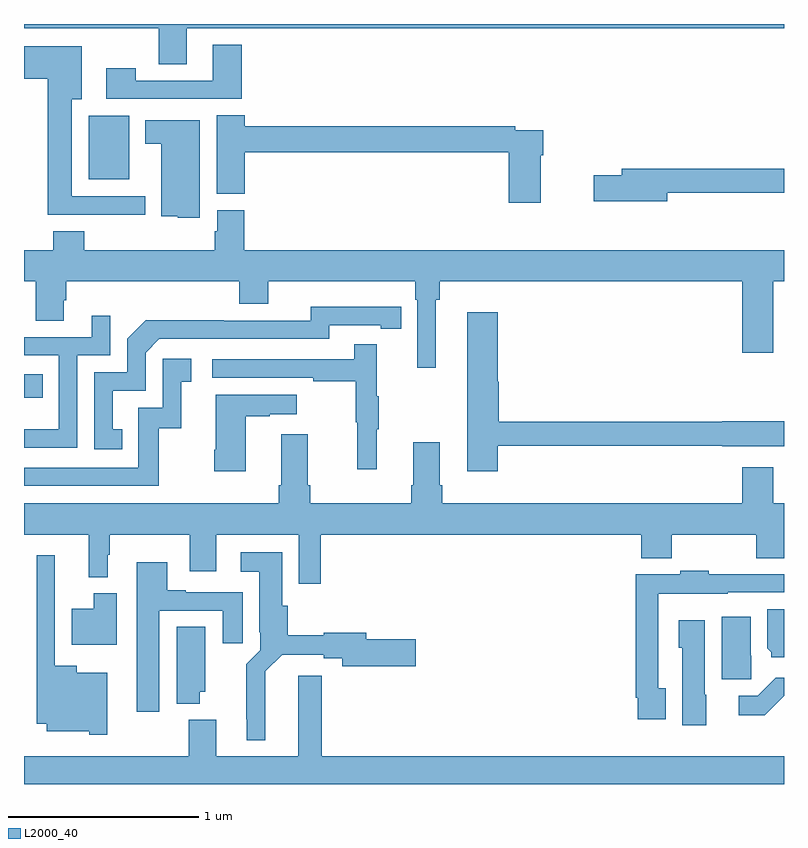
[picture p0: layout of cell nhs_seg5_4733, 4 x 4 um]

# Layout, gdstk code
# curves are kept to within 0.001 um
import gdstk
lib = gdstk.Library(unit=1e-6, precision=1e-09)
def R(c, l, rs):  # rectangles x0, y0, x1, y1
    for r in rs: c.add(gdstk.rectangle(r[:2], r[2:], *l))
def P(c, l, *ps):  # polygons
    for p in ps: c.add(gdstk.Polygon(p, *l))
L2000_40 = (2000, 40)

nhs_seg5_4733 = lib.new_cell('nhs_seg5_4733')
R(nhs_seg5_4733, L2000_40, [(389,838.833,389.099,838.956), (389.342,839.981,389.554,840.316)])
P(nhs_seg5_4733, L2000_40, [(389.857,840.776),(393,840.776),(393,840.799),(389,840.799),(389,840.776),(389.71,840.776),(389.71,840.586),(389.857,840.586)],
  [(390.146,840.691),(389.993,840.691),(389.993,840.501),(389.589,840.501),(389.589,840.565),(389.433,840.565),(389.433,840.405),(390.146,840.405)],
  [(389.638,839.892),(389.251,839.892),(389.251,840.404),(389.305,840.404),(389.305,840.682),(389,840.682),(389,840.512),(389.126,840.512),(389.126,839.795),(389.638,839.795)],
  [(391.72,840.107),(391.733,840.107),(391.733,840.24),(391.586,840.24),(391.586,840.26),(390.161,840.26),(390.161,840.32),(390.014,840.32),(390.014,839.905),(390.161,839.905),(390.161,840.124),(391.55,840.124),(391.55,839.859),(391.72,839.859)],
  [(389.926,840.292),(389.639,840.292),(389.639,840.17),(389.723,840.17),(389.723,839.786),(389.808,839.786),(389.808,839.78),(389.926,839.78)],
  [(392.386,839.91),(393,839.91),(393,840.038),(392.147,840.038),(392.147,840.002),(391.998,840.002),(391.998,839.867),(392.386,839.867)],
  [(390.158,839.82),(390.017,839.82),(390.017,839.709),(390.005,839.709),(390.005,839.608),(389.318,839.608),(389.318,839.707),(389.153,839.707),(389.153,839.608),(389,839.608),(389,839.444),(389.062,839.444),(389.062,839.236),(389.209,839.236),(389.209,839.346),(389.222,839.346),(389.222,839.444),(390.134,839.444),(390.134,839.327),(390.286,839.327),(390.286,839.444),(391.058,839.444),(391.058,839.348),(391.071,839.348),(391.071,838.989),(391.168,838.989),(391.168,839.348),(391.187,839.348),(391.187,839.444),(392.78,839.444),(392.78,839.07),(392.944,839.07),(392.944,839.444),(393,839.444),(393,839.608),(390.158,839.608)],
  [(389.516,838.665),(389.467,838.665),(389.467,838.869),(389.64,838.869),(389.64,839.07),(389.712,839.142),(390.606,839.142),(390.606,839.214),(390.878,839.214),(390.878,839.194),(390.986,839.194),(390.986,839.31),(390.51,839.311),(390.51,839.238),(390.05,839.238),(390.05,839.24),(389.642,839.24),(389.544,839.142),(389.544,838.965),(389.37,838.965),(389.37,838.56),(389.516,838.56)],
  [(391.493,838.578),(392.676,838.578),(392.676,838.577),(393,838.577),(393,838.707),(392.676,838.707),(392.676,838.706),(391.498,838.706),(391.498,838.917),(391.493,838.917),(391.493,839.281),(391.334,839.281),(391.334,838.446),(391.493,838.446)],
  [(389.28,839.055),(389.454,839.055),(389.454,839.263),(389.357,839.263),(389.357,839.151),(389,839.151),(389,839.055),(389.184,839.055),(389.184,838.666),(389,838.666),(389,838.569),(389.28,838.569)],
  [(390.857,838.667),(390.868,838.667),(390.868,838.841),(390.857,838.841),(390.857,839.113),(390.739,839.113),(390.739,839.034),(389.991,839.034),(389.991,838.938),(390.523,838.938),(390.523,838.918),(390.747,838.918),(390.747,838.704),(390.754,838.704),(390.754,838.455),(390.857,838.455)],
  [(389.71,838.671),(389.828,838.671),(389.828,838.917),(389.881,838.917),(389.881,839.038),(389.73,839.038),(389.73,838.779),(389.601,838.779),(389.601,838.464),(389,838.464),(389,838.368),(389.71,838.368)],
  [(390.166,838.735),(390.293,838.735),(390.293,838.745),(390.436,838.745),(390.436,838.849),(390.008,838.849),(390.008,838.558),(390.001,838.558),(390.001,838.446),(390.166,838.446)],
  [(390.563,838.112),(392.249,838.112),(392.249,837.988),(392.409,837.988),(392.409,838.112),(392.854,838.112),(392.854,837.988),(393,837.988),(393,838.276),(392.944,838.276),(392.944,838.465),(392.78,838.465),(392.78,838.276),(391.202,838.276),(391.202,838.372),(391.189,838.372),(391.189,838.597),(391.049,838.597),(391.049,838.372),(391.037,838.372),(391.037,838.276),(390.506,838.276),(390.506,838.372),(390.493,838.372),(390.493,838.639),(390.353,838.639),(390.353,838.372),(390.341,838.372),(390.341,838.276),(389,838.276),(389,838.112),(389.342,838.112),(389.342,837.887),(389.44,837.887),(389.44,838.005),(389.452,838.005),(389.452,838.112),(389.873,838.112),(389.873,837.918),(390.013,837.918),(390.013,838.112),(390.447,838.112),(390.447,837.852),(390.563,837.852)],
  [(390.271,837.392),(390.358,837.48),(390.578,837.48),(390.578,837.46),(390.674,837.46),(390.674,837.418),(391.063,837.418),(391.063,837.56),(390.802,837.56),(390.802,837.596),(390.578,837.596),(390.578,837.581),(390.389,837.581),(390.389,837.738),(390.358,837.738),(390.358,838.018),(390.141,838.018),(390.141,837.917),(390.239,837.917),(390.239,837.598),(390.243,837.598),(390.243,837.504),(390.169,837.43),(390.169,837.139),(390.173,837.139),(390.173,837.029),(390.271,837.029)],
  [(389.437,837.385),(389.278,837.385),(389.278,837.421),(389.163,837.421),(389.163,838.003),(389.066,838.003),(389.066,837.116),(389.12,837.116),(389.12,837.077),(389.343,837.077),(389.343,837.059),(389.437,837.059)],
  [(389.713,837.711),(390.047,837.711),(390.047,837.54),(390.151,837.54),(390.151,837.807),(389.851,837.807),(389.851,837.82),(389.755,837.82),(389.755,837.967),(389.594,837.967),(389.594,837.18),(389.713,837.18)],
  [(392.377,837.302),(392.337,837.302),(392.337,837.8),(392.703,837.8),(392.703,837.807),(393,837.807),(393,837.903),(392.604,837.903),(392.604,837.921),(392.454,837.921),(392.454,837.903),(392.221,837.903),(392.221,837.253),(392.229,837.253),(392.229,837.141),(392.377,837.141)],
  [(389.488,837.802),(389.366,837.802),(389.366,837.721),(389.252,837.721),(389.252,837.533),(389.488,837.533)],
  [(393,837.718),(392.912,837.718),(392.912,837.514),(392.934,837.492),(392.934,837.467),(393,837.467)],
  [(392.828,837.474),(392.824,837.474),(392.824,837.679),(392.672,837.679),(392.672,837.351),(392.828,837.351)],
  [(392.59,837.27),(392.584,837.27),(392.584,837.661),(392.447,837.661),(392.447,837.516),(392.465,837.516),(392.465,837.108),(392.59,837.108)],
  [(389.926,837.285),(389.953,837.285),(389.953,837.626),(389.804,837.626),(389.804,837.221),(389.926,837.221)],
  [(393,836.944),(390.566,836.944),(390.566,837.37),(390.443,837.37),(390.443,836.944),(390.013,836.944),(390.013,837.136),(389.866,837.136),(389.866,836.944),(389,836.944),(389,836.799),(393,836.799)],
  [(393,837.264),(393,837.358),(392.956,837.358),(392.862,837.264),(392.763,837.264),(392.763,837.162),(392.898,837.162)])

lib.write_gds('nhs_seg5_4733.gds')
